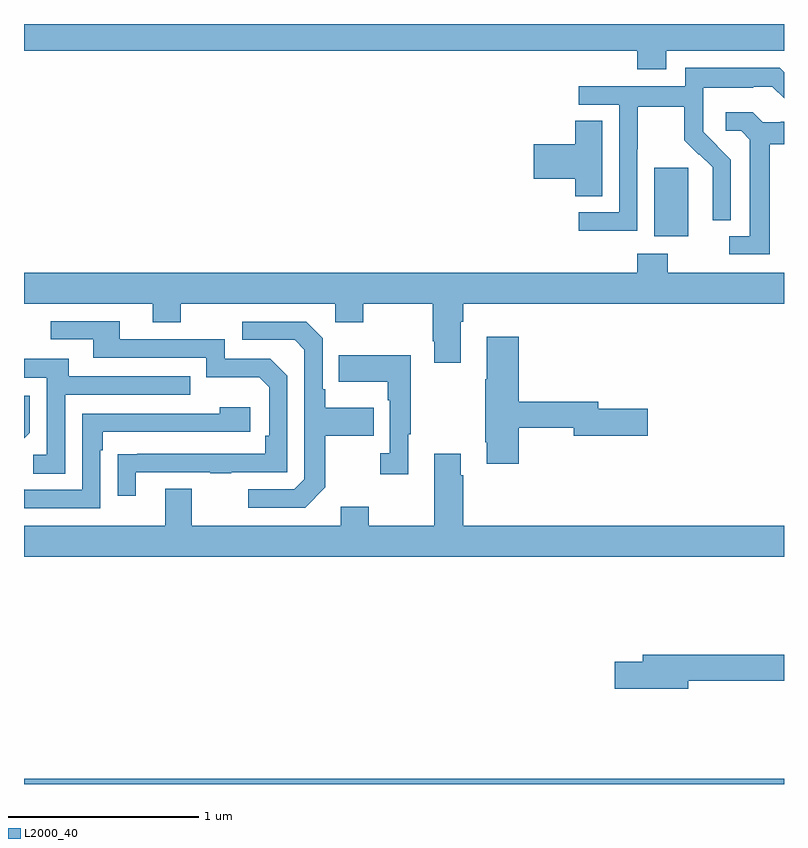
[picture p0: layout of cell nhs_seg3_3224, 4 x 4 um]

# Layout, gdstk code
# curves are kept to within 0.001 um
import gdstk
lib = gdstk.Library(unit=1e-6, precision=1e-09)
def R(c, l, rs):  # rectangles x0, y0, x1, y1
    for r in rs: c.add(gdstk.rectangle(r[:2], r[2:], *l))
def P(c, l, *ps):  # polygons
    for p in ps: c.add(gdstk.Polygon(p, *l))
L2000_40 = (2000, 40)

nhs_seg3_3224 = lib.new_cell('nhs_seg3_3224')
R(nhs_seg3_3224, L2000_40, [(279,686.4,283,686.428), (282.317,689.282,282.496,689.643)])
P(nhs_seg3_3224, L2000_40, [(279,690.26),(282.227,690.26),(282.227,690.161),(282.379,690.161),(282.379,690.26),(283,690.26),(283,690.4),(279,690.4)],
  [(282.228,689.74),(282.231,689.74),(282.231,689.964),(282.475,689.964),(282.475,689.789),(282.552,689.712),(282.555,689.715),(282.626,689.645),(282.626,689.522),(282.624,689.522),(282.624,689.368),(282.72,689.368),(282.72,689.686),(282.574,689.834),(282.574,689.931),(282.576,689.931),(282.576,690.065),(282.839,690.065),(282.839,690.069),(282.939,690.069),(283,690.008),(283,690.146),(282.977,690.169),(282.48,690.169),(282.48,690.072),(281.919,690.072),(281.919,689.976),(282.132,689.976),(282.132,689.409),(281.919,689.409),(281.919,689.311),(282.228,689.311)],
  [(282.925,689.768),(283,689.768),(283,689.886),(282.982,689.886),(282.982,689.883),(282.888,689.883),(282.836,689.935),(282.693,689.935),(282.693,689.838),(282.774,689.838),(282.821,689.791),(282.821,689.283),(282.711,689.283),(282.711,689.187),(282.925,689.187)],
  [(282.043,689.891),(281.9,689.891),(281.9,689.768),(281.682,689.768),(281.682,689.585),(281.9,689.585),(281.9,689.494),(282.043,689.494)],
  [(281.299,688.832),(281.312,688.832),(281.312,688.928),(283,688.928),(283,689.092),(282.387,689.092),(282.387,689.191),(282.227,689.191),(282.227,689.092),(279,689.092),(279,688.928),(279.677,688.928),(279.677,688.829),(279.825,688.829),(279.825,688.928),(280.638,688.928),(280.638,688.829),(280.785,688.829),(280.785,688.928),(281.152,688.928),(281.152,688.729),(281.159,688.729),(281.159,688.617),(281.299,688.617)],
  [(279.589,688.041),(279.979,688.041),(279.979,688.036),(280.091,688.036),(280.091,688.041),(280.386,688.041),(280.386,688.548),(280.296,688.638),(280.056,688.638),(280.056,688.74),(279.505,688.74),(279.505,688.836),(279.141,688.836),(279.141,688.74),(279.365,688.74),(279.365,688.644),(279.96,688.644),(279.96,688.541),(280.237,688.541),(280.29,688.488),(280.29,688.234),(280.27,688.234),(280.27,688.137),(279.493,688.136),(279.493,687.918),(279.589,687.918)],
  [(280.585,687.961),(280.585,688.234),(280.841,688.234),(280.841,688.381),(280.585,688.381),(280.585,688.477),(280.572,688.477),(280.572,688.746),(280.485,688.833),(280.149,688.833),(280.149,688.737),(280.425,688.737),(280.476,688.686),(280.476,688.005),(280.422,687.951),(280.179,687.951),(280.179,687.855),(280.479,687.855)],
  [(281.603,688.276),(281.894,688.276),(281.894,688.234),(282.283,688.234),(282.283,688.376),(282.022,688.376),(282.022,688.412),(281.603,688.412),(281.603,688.753),(281.435,688.753),(281.435,688.529),(281.428,688.529),(281.428,688.198),(281.435,688.198),(281.435,688.086),(281.603,688.086)],
  [(281.023,688.241),(281.035,688.241),(281.035,688.657),(280.657,688.657),(280.657,688.517),(280.914,688.517),(280.914,688.421),(280.926,688.421),(280.926,688.142),(280.875,688.142),(280.875,688.029),(281.023,688.029)],
  [(279.216,688.449),(279.875,688.449),(279.875,688.545),(279.235,688.545),(279.235,688.639),(279,688.639),(279,688.539),(279.12,688.539),(279.12,688.134),(279.048,688.134),(279.048,688.033),(279.216,688.033)],
  [(279.03,688.25),(279.03,688.444),(279,688.444),(279,688.22)],
  [(279.402,688.157),(279.415,688.157),(279.415,688.254),(280.192,688.254),(280.192,688.384),(280.031,688.384),(280.031,688.35),(279.306,688.35),(279.306,687.948),(279.003,687.948),(279,687.951),(279,687.852),(279.402,687.852)],
  [(283,687.76),(281.312,687.76),(281.312,688.025),(281.299,688.025),(281.299,688.138),(281.159,688.138),(281.159,687.76),(280.815,687.76),(280.815,687.859),(280.667,687.859),(280.667,687.76),(279.883,687.76),(279.883,687.955),(279.743,687.955),(279.743,687.76),(279,687.76),(279,687.596),(283,687.596)],
  [(282.496,686.944),(283,686.944),(283,687.08),(282.257,687.08),(282.257,687.044),(282.108,687.044),(282.108,686.902),(282.496,686.902)])

lib.write_gds('nhs_seg3_3224.gds')
